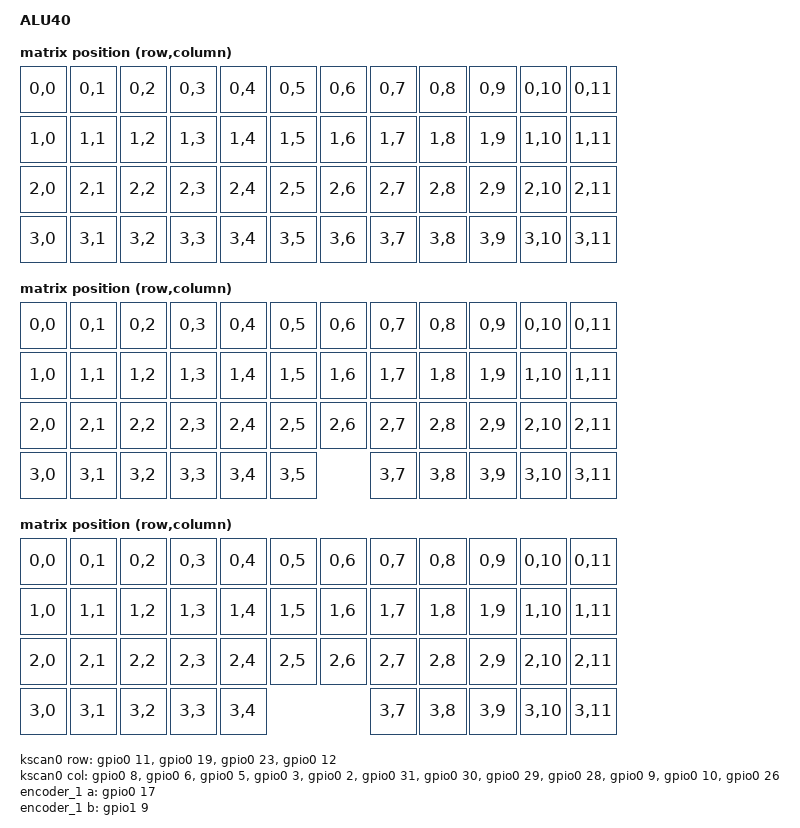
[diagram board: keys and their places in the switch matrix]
/*
* Copyright (c) 2021 Polarity Works
*
* SPDX-License-Identifier: MIT
*/

/dts-v1/;
#include <nordic/nrf52840_qiaa.dtsi>
#include <dt-bindings/led/led.h>
#include <dt-bindings/zmk/matrix_transform.h>
#include <layouts/common/ortho_4x12/1x2u.dtsi>
#include <layouts/common/ortho_4x12/2x2u.dtsi>
#include <layouts/common/ortho_4x12/all1u.dtsi>

#include "pinctrl.dtsi"

/ {
	model = "ALU40";
	compatible = "polarityworks,alu40";

	chosen {
		zephyr,code-partition = &code_partition;
		zephyr,sram = &sram0;
		zephyr,flash = &flash0;
		zmk,kscan = &kscan0;
		zmk,underglow = &led_strip;
		zmk,battery = &vbatt;
		zmk,physical-layout = &layout_ortho_4x12_all1u;
	};

	sensors {
		compatible = "zmk,keymap-sensors";
		sensors = <&encoder_1>;
		triggers-per-rotation = <18>;
	};

	kscan0: kscan_0 {
		compatible = "zmk,kscan-gpio-matrix";
		diode-direction = "col2row";

		col-gpios
			= <&gpio0 8 GPIO_ACTIVE_HIGH>
			, <&gpio0 6 GPIO_ACTIVE_HIGH>
			, <&gpio0 5 GPIO_ACTIVE_HIGH>
			, <&gpio0 3 GPIO_ACTIVE_HIGH>
			, <&gpio0 2 GPIO_ACTIVE_HIGH>
			, <&gpio0 31 GPIO_ACTIVE_HIGH>
			, <&gpio0 30 GPIO_ACTIVE_HIGH>
			, <&gpio0 29 GPIO_ACTIVE_HIGH>
			, <&gpio0 28 GPIO_ACTIVE_HIGH>
			, <&gpio0 9 GPIO_ACTIVE_HIGH>
			, <&gpio0 10 GPIO_ACTIVE_HIGH>
			, <&gpio0 26 GPIO_ACTIVE_HIGH>
			;

		row-gpios
			= <&gpio0 11 (GPIO_ACTIVE_HIGH | GPIO_PULL_DOWN)>
			, <&gpio0 19 (GPIO_ACTIVE_HIGH | GPIO_PULL_DOWN)>
			, <&gpio0 23 (GPIO_ACTIVE_HIGH | GPIO_PULL_DOWN)>
			, <&gpio0 12 (GPIO_ACTIVE_HIGH | GPIO_PULL_DOWN)>
			;
	};

	ext-power {
		compatible = "zmk,ext-power-generic";
		control-gpios = <&gpio0 13 GPIO_ACTIVE_HIGH>;
	};

	encoder_1: encoder_1 {
		compatible = "alps,ec11";
		a-gpios = <&gpio0 17 (GPIO_ACTIVE_HIGH | GPIO_PULL_UP)>;
		b-gpios = <&gpio1 9 (GPIO_ACTIVE_HIGH | GPIO_PULL_UP)>;
		steps = <18>;
	};

	leds {
		compatible = "gpio-leds";
		blue_led: led_0 {
			gpios = <&gpio0 15 GPIO_ACTIVE_HIGH>;
			label = "Blue LED";
		};
	};

	vbatt: vbatt {
		compatible = "zmk,battery-voltage-divider";
		io-channels = <&adc 2>;
		output-ohms = <100000>;
		full-ohms = <(100000 + 100000)>;
	};

	layout_grid_transform:
    keymap_transform_0 {
        compatible = "zmk,matrix-transform";
        columns = <12>;
        rows = <4>;
        map = <
        RC(0,0) RC(0,1) RC(0,2) RC(0,3) RC(0,4) RC(0,5) RC(0,6) RC(0,7) RC(0,8) RC(0,9) RC(0,10) RC(0,11)
        RC(1,0) RC(1,1) RC(1,2) RC(1,3) RC(1,4) RC(1,5) RC(1,6) RC(1,7) RC(1,8) RC(1,9) RC(1,10) RC(1,11)
		RC(2,0) RC(2,1) RC(2,2) RC(2,3) RC(2,4) RC(2,5) RC(2,6) RC(2,7) RC(2,8) RC(2,9) RC(2,10) RC(2,11)
		RC(3,0) RC(3,1) RC(3,2) RC(3,3) RC(3,4) RC(3,5) RC(3,6) RC(3,7) RC(3,8) RC(3,9) RC(3,10) RC(3,11)
        >;
    };
layout_mit_transform:
    keymap_transform_1 {
        compatible = "zmk,matrix-transform";
        columns = <12>;
        rows = <4>;
        map = <
        RC(0,0) RC(0,1) RC(0,2) RC(0,3) RC(0,4) RC(0,5) RC(0,6) RC(0,7) RC(0,8) RC(0,9) RC(0,10) RC(0,11)
        RC(1,0) RC(1,1) RC(1,2) RC(1,3) RC(1,4) RC(1,5) RC(1,6) RC(1,7) RC(1,8) RC(1,9) RC(1,10) RC(1,11)
		RC(2,0) RC(2,1) RC(2,2) RC(2,3) RC(2,4) RC(2,5) RC(2,6) RC(2,7) RC(2,8) RC(2,9) RC(2,10) RC(2,11)
		RC(3,0) RC(3,1) RC(3,2) RC(3,3) RC(3,4)     RC(3,5)     RC(3,7) RC(3,8) RC(3,9) RC(3,10) RC(3,11)
        >;
    };
layout_2x2u_transform:
    keymap_transform_2 {
        compatible = "zmk,matrix-transform";
        columns = <12>;
        rows = <4>;
        map = <
        RC(0,0) RC(0,1) RC(0,2) RC(0,3) RC(0,4) RC(0,5) RC(0,6) RC(0,7) RC(0,8) RC(0,9) RC(0,10) RC(0,11)
        RC(1,0) RC(1,1) RC(1,2) RC(1,3) RC(1,4) RC(1,5) RC(1,6) RC(1,7) RC(1,8) RC(1,9) RC(1,10) RC(1,11)
		RC(2,0) RC(2,1) RC(2,2) RC(2,3) RC(2,4) RC(2,5) RC(2,6) RC(2,7) RC(2,8) RC(2,9) RC(2,10) RC(2,11)
		RC(3,0) RC(3,1) RC(3,2) RC(3,3) 	RC(3,4)         RC(3,7)     RC(3,8) RC(3,9) RC(3,10) RC(3,11)
        >;
    };
};

&adc {
	status = "okay";
};

&gpiote {
	status = "okay";
};

&gpio0 {
	status = "okay";
};

&gpio1 {
	status = "okay";
};

zephyr_udc0: &usbd {
	status = "okay";
};


&flash0 {
	/*
	 * For more information, see:
	 * http://docs.zephyrproject.org/latest/devices/dts/flash_partitions.html
	 */
	partitions {
		compatible = "fixed-partitions";
		#address-cells = <1>;
		#size-cells = <1>;

		sd_partition: partition@0 {
			label = "softdevice";
			reg = <0x00000000 0x00026000>;
		};
		code_partition: partition@26000 {
			label = "code_partition";
			reg = <0x00026000 0x000c6000>;
		};

		/*
		 * The flash starting at 0x000ec000 and ending at
		 * 0x000f3fff is reserved for use by the application.
		 */

		/*
		 * Storage partition will be used by FCB/LittleFS/NVS
		 * if enabled.
		 */
		storage_partition: partition@ec000 {
			label = "storage";
			reg = <0x000ec000 0x00008000>;
		};

		boot_partition: partition@f4000 {
			label = "adafruit_boot";
			reg = <0x000f4000 0x0000c000>;
		};
	};
};

&spi3 {
	compatible = "nordic,nrf-spim";
	status = "okay";
	pinctrl-0 = <&spi3_default>;
	pinctrl-1 = <&spi3_sleep>;
	pinctrl-names = "default", "sleep";

	led_strip: ws2812@0 {
		compatible = "worldsemi,ws2812-spi";

		/* SPI */
		reg = <0>;
		spi-max-frequency = <4000000>;

		/* WS2812 */
		chain-length = <12>; /* number of LEDs */
		spi-one-frame = <0x70>;
		spi-zero-frame = <0x40>;
		color-mapping = <LED_COLOR_ID_GREEN
                   LED_COLOR_ID_RED
                   LED_COLOR_ID_BLUE>;
	};

};

&layout_ortho_4x12_all1u {
    transform = <&layout_grid_transform>;
};

&layout_ortho_4x12_1x2u {
    transform = <&layout_mit_transform>;
};

&layout_ortho_4x12_2x2u {
    transform = <&layout_2x2u_transform>;
};
